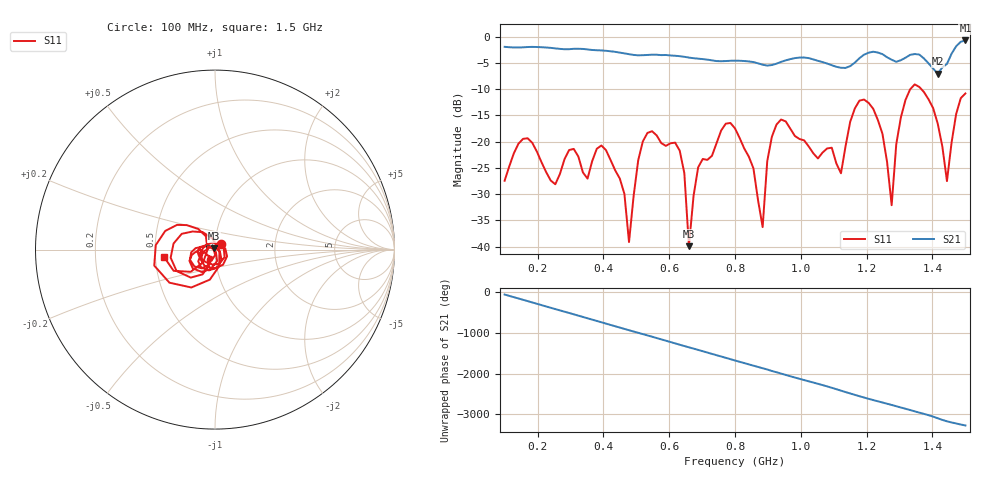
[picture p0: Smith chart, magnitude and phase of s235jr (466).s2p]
! NanoVNA-App
! Date: 2025-09-25 15:07:47
! Start: 100MHz Stop: 1,5GHz Points: 101
! S-Parameter data: F S11 S21 S12 S22
# Hz S RI R 50
!  Frequency  S11_Real  S11_Imag  S21_Real  S21_Imag  S12_Real  S12_Imag  S22_Real  S22_Imag
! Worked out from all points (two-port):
!   101 points, 100 MHz to 1.5 GHz, reference 50 ohm
!   highest |S21| = -0.75 dB at 1.5 GHz (marker M1); lowest = -7.1 dB at 1.416 GHz (marker M2)
!   |S21| within 3 dB of the highest: start of sweep to 632.9 MHz; 1.186 GHz to 1.257 GHz (71.25 MHz wide, 5.83 % of centre) (the widest 2 of 4)
!   lowest |S11| = -39.9 dB at 660 MHz (marker M3), VSWR 1.02, Z = 49.2 + j0.624 ohm
!   |S11| at or under -10 dB: start of sweep to 1.333 GHz; 1.366 GHz to end of sweep
!   S12 and S22 are empty: the file has one direction only
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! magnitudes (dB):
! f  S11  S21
! 100 MHz  -27.5  -2.0
! 170 MHz  -19.4  -2.0
! 338 MHz  -25.9  -2.4
! 408 MHz  -21.6  -2.7
! 478 MHz  -39.1  -3.4
! 520 MHz  -20.0  -3.6
! 576 MHz  -20.3  -3.5
! 632 MHz  -21.7  -3.7
! 660 MHz  -39.9  -4.0
! 688 MHz  -24.9  -4.2
! 800 MHz  -17.5  -4.6
! 884 MHz  -36.3  -5.4
! 926 MHz  -16.8  -5.2
! 1.038 GHz  -22.2  -4.4
! 1.122 GHz  -26.0  -6.0
! 1.192 GHz  -12.0  -3.5
! 1.248 GHz  -18.5  -3.4
! 1.276 GHz  -32.1  -4.4
! 1.332 GHz  -10.1  -3.5
! 1.416 GHz  -16.6  -7.1
! 1.444 GHz  -27.5  -5.2
! 1.5 GHz  -10.8  -0.7
